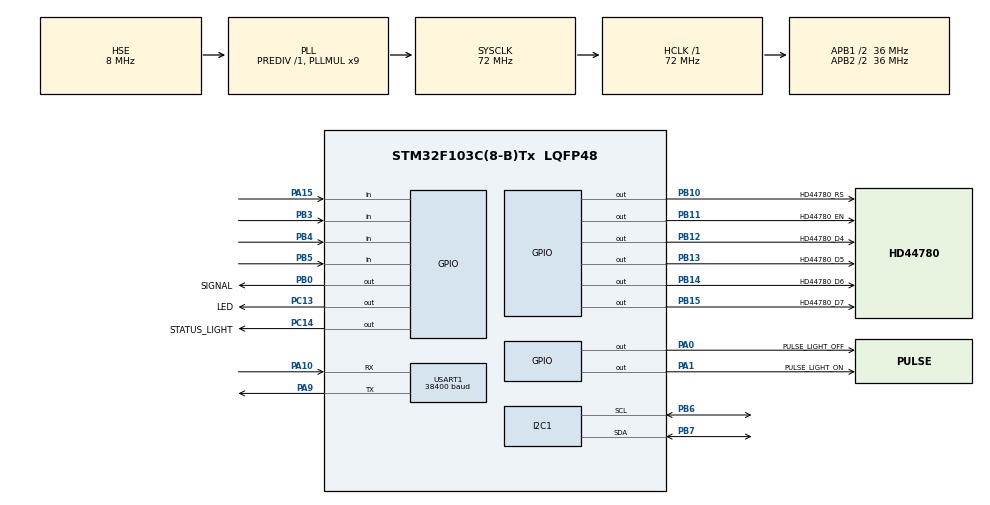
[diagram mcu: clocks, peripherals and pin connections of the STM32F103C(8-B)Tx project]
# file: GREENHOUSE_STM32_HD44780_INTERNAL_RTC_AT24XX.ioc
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Mcu.Family=STM32F1
Mcu.Name=STM32F103C(8-B)Tx
Mcu.Package=LQFP48
NVIC.I2C1_ER_IRQn=true\:0\:0\:false\:false\:true\:true
NVIC.I2C1_EV_IRQn=true\:0\:0\:false\:false\:true\:true
NVIC.PriorityGroup=NVIC_PRIORITYGROUP_4
NVIC.RTC_Alarm_IRQn=true\:0\:0\:false\:false\:true\:true
NVIC.RTC_IRQn=true\:0\:0\:false\:false\:true\:true
NVIC.TIM1_BRK_IRQn=true\:0\:0\:false\:false\:true\:true
NVIC.TIM1_UP_IRQn=true\:0\:0\:false\:false\:true\:true
NVIC.USART1_IRQn=true\:0\:0\:false\:false\:true\:true
PA0-WKUP.GPIO_Label=PULSE_LIGHT_OFF
PA0-WKUP.Signal=GPIO_Output
PA1.GPIO_Label=PULSE_LIGHT_ON
PA1.Signal=GPIO_Output
PA10.Mode=Asynchronous
PA10.Signal=USART1_RX
PA13.Mode=Serial_Wire
PA13.Signal=SYS_JTMS-SWDIO
PA14.Mode=Serial_Wire
PA14.Signal=SYS_JTCK-SWCLK
PA15.GPIO_PuPd=GPIO_PULLDOWN
PA15.Signal=GPIO_Input
PA9.Mode=Asynchronous
PA9.Signal=USART1_TX
PB0.GPIO_Label=SIGNAL
PB0.Signal=GPIO_Output
PB10.GPIO_Label=HD44780_RS
PB10.Signal=GPIO_Output
PB11.GPIO_Label=HD44780_EN
PB11.Signal=GPIO_Output
PB12.GPIO_Label=HD44780_D4
PB12.Signal=GPIO_Output
PB13.GPIO_Label=HD44780_D5
PB13.Signal=GPIO_Output
PB14.GPIO_Label=HD44780_D6
PB14.Signal=GPIO_Output
PB15.GPIO_Label=HD44780_D7
PB15.Signal=GPIO_Output
PB3.GPIO_PuPd=GPIO_PULLDOWN
PB3.Signal=GPIO_Input
PB4.GPIO_PuPd=GPIO_PULLDOWN
PB4.Signal=GPIO_Input
PB5.GPIO_PuPd=GPIO_PULLDOWN
PB5.Signal=GPIO_Input
PB6.Mode=I2C
PB6.Signal=I2C1_SCL
PB7.Mode=I2C
PB7.Signal=I2C1_SDA
PC13-TAMPER-RTC.GPIO_Label=LED
PC13-TAMPER-RTC.Signal=GPIO_Output
PC14-OSC32_IN.GPIO_Label=STATUS_LIGHT
PC14-OSC32_IN.Signal=GPIO_Output
PD0-OSC_IN.Mode=HSE-External-Oscillator
PD0-OSC_IN.Signal=RCC_OSC_IN
PD1-OSC_OUT.Mode=HSE-External-Oscillator
PD1-OSC_OUT.Signal=RCC_OSC_OUT
ProjectManager.HeapSize=0x200
ProjectManager.StackSize=0x400
ProjectManager.TargetToolchain=MDK-ARM V5
RCC.AHBFreq_Value=72000000
RCC.APB1CLKDivider=RCC_HCLK_DIV2
RCC.APB1Freq_Value=36000000
RCC.APB1TimFreq_Value=72000000
RCC.APB2CLKDivider=RCC_HCLK_DIV2
RCC.APB2Freq_Value=36000000
RCC.APB2TimFreq_Value=72000000
RCC.HCLKFreq_Value=72000000
RCC.PLLMUL=RCC_PLL_MUL9
RCC.PLLSourceVirtual=RCC_PLLSOURCE_HSE
RCC.RTCClockSelection=RCC_RTCCLKSOURCE_HSE_DIV128
RCC.SYSCLKFreq_VALUE=72000000
RCC.SYSCLKSource=RCC_SYSCLKSOURCE_PLLCLK
RCC.USBFreq_Value=72000000
TIM1.Period=7200
TIM1.Prescaler=10
USART1.BaudRate=38400
USART1.VirtualMode=VM_ASYNC
VP_RTC_No_RTC_Output.Mode=RTC_OUT_NO
VP_RTC_VS_RTC_Activate.Mode=RTC_Enabled
VP_TIM1_VS_ClockSourceINT.Mode=Internal
board=GREENHOUSE_STM32_HD44780_INTERNAL_RTC_AT24XX

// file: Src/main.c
/**
  ******************************************************************************
  * File Name          : main.c
  * Description        : Main program body
  ******************************************************************************
  ** This notice applies to any and all portions of this file
  * that are not between comment pairs USER CODE BEGIN and
  * USER CODE END. Other portions of this file, whether
  * inserted by the user or by software development tools
  * are owned by their respective copyright owners.
  *
  * COPYRIGHT(c) 2018 STMicroelectronics
  *
  * Redistribution and use in source and binary forms, with or without modification,
  * are permitted provided that the following conditions are met:
  *   1. Redistributions of source code must retain the above copyright notice,
  *      this list of conditions and the following disclaimer.
  *   2. Redistributions in binary form must reproduce the above copyright notice,
  *      this list of conditions and the following disclaimer in the documentation
  *      and/or other materials provided with the distribution.
  *   3. Neither the name of STMicroelectronics nor the names of its contributors
  *      may be used to endorse or promote products derived from this software
  *      without specific prior written permission.
  *
  * THIS SOFTWARE IS PROVIDED BY THE COPYRIGHT HOLDERS AND CONTRIBUTORS "AS IS"
  * AND ANY EXPRESS OR IMPLIED WARRANTIES, INCLUDING, BUT NOT LIMITED TO, THE
  * IMPLIED WARRANTIES OF MERCHANTABILITY AND FITNESS FOR A PARTICULAR PURPOSE ARE
  * DISCLAIMED. IN NO EVENT SHALL THE COPYRIGHT HOLDER OR CONTRIBUTORS BE LIABLE
  * FOR ANY DIRECT, INDIRECT, INCIDENTAL, SPECIAL, EXEMPLARY, OR CONSEQUENTIAL
  * DAMAGES (INCLUDING, BUT NOT LIMITED TO, PROCUREMENT OF SUBSTITUTE GOODS OR
  * SERVICES; LOSS OF USE, DATA, OR PROFITS; OR BUSINESS INTERRUPTION) HOWEVER
  * CAUSED AND ON ANY THEORY OF LIABILITY, WHETHER IN CONTRACT, STRICT LIABILITY,
  * OR TORT (INCLUDING NEGLIGENCE OR OTHERWISE) ARISING IN ANY WAY OUT OF THE USE
  * OF THIS SOFTWARE, EVEN IF ADVISED OF THE POSSIBILITY OF SUCH DAMAGE.
  *
  ******************************************************************************
  */

#include "main.h"
#include "stm32f1xx_hal.h"

/* USER CODE BEGIN Includes */
#include "string.h"
#include <stdint.h>
#include <stdbool.h>
#include <stdio.h>
#include <math.h>

#include "hd44780.h"
#include "at24xx.h"

/* USER CODE END Includes */

I2C_HandleTypeDef hi2c1;

RTC_HandleTypeDef hrtc;

TIM_HandleTypeDef htim1;

UART_HandleTypeDef huart1;

/* USER CODE BEGIN PV */
/* Private variables ---------------------------------------------------------*/
RTC_TimeTypeDef clkTime;
RTC_DateTypeDef clkDate;
char bufstr[10], str[25];
uint8_t set = 0, sec = 0, min = 0, hour = 0, a0min = 0, a0hour = 0, a1min = 0, a1hour = 0, a2min = 0, a2hour = 0;
uint64_t millis = 0, modeSwitch = 0, updateUART = 0;
bool lcd_out = 0, big = 0, triggerClear = 1, alarm = 0, powerLight = 0;

/* USER CODE END PV */

void SystemClock_Config(void);
static void MX_GPIO_Init(void);
static void MX_I2C1_Init(void);
static void MX_USART1_UART_Init(void);
static void MX_TIM1_Init(void);
static void MX_RTC_Init(void);

/* USER CODE BEGIN PFP */
/* Private function prototypes -----------------------------------------------*/
/* USER CODE END PFP */

/* USER CODE BEGIN 0 */

uint8_t decToBcd(uint8_t val)
{
	return ((val / 10 * 16) + (val % 10));
}

uint8_t bcdToDec(uint8_t val)
{
	return ((val / 16 * 10) + (val % 16));
}

uint8_t data[] = "UART OK\n";
uint8_t rx_index = 0;
uint8_t rx_data;
uint8_t rx_buffer[256];

void HAL_UART_RxCpltCallback(UART_HandleTypeDef *huart)
{
	uint8_t i;
	if (huart->Instance == USART1)
	{
		if (rx_index == 0)
		{
			for (i = 0; i < 255; i++)
			{
				rx_buffer[i] = 0;
			}
		}
		rx_buffer[rx_index++] = rx_data;

		HAL_UART_Receive_IT(&huart1, &rx_data, 1);
	}
}

void relayLight(void)
{
	if (hour == a1hour && min == a1min) powerLight = 1;
	if (hour == a2hour && min == a2min) powerLight = 0;

	if (powerLight)
	{
		HAL_GPIO_WritePin(GPIOC, GPIO_PIN_14, GPIO_PIN_SET);
		HAL_GPIO_WritePin(GPIOA, GPIO_PIN_1, GPIO_PIN_RESET);
		HAL_GPIO_WritePin(GPIOA, GPIO_PIN_0, GPIO_PIN_SET);
		HAL_Delay(100);
		HAL_GPIO_WritePin(GPIOA, GPIO_PIN_0, GPIO_PIN_RESET);
	}
	else
	{
		HAL_GPIO_WritePin(GPIOC, GPIO_PIN_14, GPIO_PIN_RESET);
		HAL_GPIO_WritePin(GPIOA, GPIO_PIN_0, GPIO_PIN_RESET);
		HAL_GPIO_WritePin(GPIOA, GPIO_PIN_1, GPIO_PIN_SET);
		HAL_Delay(100);
		HAL_GPIO_WritePin(GPIOA, GPIO_PIN_1, GPIO_PIN_RESET);
	}
}

/* USER CODE END 0 */

int main(void)
{

  /* MCU Configuration----------------------------------------------------------*/

  /* Reset of all peripherals, Initializes the Flash interface and the Systick. */
  HAL_Init();

  /* Configure the system clock */
  SystemClock_Config();

  /* Initialize all configured peripherals */
  MX_GPIO_Init();
  MX_I2C1_Init();
  MX_USART1_UART_Init();
  MX_TIM1_Init();
  MX_RTC_Init();

  /* USER CODE BEGIN 2 */

	HAL_RTC_Init(&hrtc);
	HAL_RTCEx_SetSecond_IT(&hrtc);
	HAL_TIM_Base_Start_IT(&htim1);
	HAL_UART_Receive_IT(&huart1, &rx_data, 1);

	uint8_t uartTransmit[] = "UART OK\r\n";
	HAL_UART_Transmit(&huart1, uartTransmit, sizeof(uartTransmit), 100);

	HD44780_Init();
	HD44780_Clear();
	HD44780_SetPos(0, 0);
	HD44780_String("*** STRING 0 ***");
	HD44780_SetPos(1, 0);
	HD44780_String("*** STRING 1 ***");
	HAL_Delay(500);
	HD44780_Clear();

	while (AT24XX_IsConnected() == false)
	{
		HAL_Delay(100);
	}

  /* USER CODE END 2 */

  /* Infinite loop */
  /* USER CODE BEGIN WHILE */
	while (1)
	{
		if (rx_index != 0)
		{
			HD44780_Clear();
			HD44780_SetPos(0, 0);
			HD44780_String((char*)rx_buffer);
			rx_index = 0;
			HAL_Delay(1000);
		}

		if (lcd_out)
		{
			lcd_out = false;

			HAL_RTC_GetTime(&hrtc, &clkTime, RTC_FORMAT_BCD);
			sec = bcdToDec(clkTime.Seconds);
			min = bcdToDec(clkTime.Minutes);
			hour = bcdToDec(clkTime.Hours);

			if (!set && !big && millis > modeSwitch + 5000)
			{
			modeSwitch = millis;
			triggerClear = 1;
			big = 1;
			}
			else if (!set && big && millis > modeSwitch + 5000)
			{
			modeSwitch = millis;
			big = 0;
			}
			else if (set && millis > modeSwitch + 10000)
			{
				set = 0;
			}

			if (big)
			{
				drawBigDigits(hour / 10, 0);
				drawBigDigits(hour % 10, 4);
				drawBigDigits(min / 10, 9);
				drawBigDigits(min % 10, 13);

				if (sec % 2 == 0)
				{
					HD44780_SetPos(0, 7);
					HD44780_String("+ ");
					HD44780_SetPos(1, 7);
					HD44780_String(" +");
					HD44780_SetPos(1, 3);
					HD44780_String("+");
					HD44780_SetPos(0, 12);
					HD44780_String("+");
					HD44780_SetPos(0, 3);
					HD44780_String(" ");
					HD44780_SetPos(1, 12);
					HD44780_String(" ");
				}
				else
				{
					HD44780_SetPos(0, 7);
					HD44780_String(" +");
					HD44780_SetPos(1, 7);
					HD44780_String("+ ");
					HD44780_SetPos(0, 3);
					HD44780_String("+");
					HD44780_SetPos(1, 12);
					HD44780_String("+");
					HD44780_SetPos(1, 3);
					HD44780_String(" ");
					HD44780_SetPos(0, 12);
					HD44780_String(" ");
				}
			}
			else
			{
				if (triggerClear)
				{
					HD44780_Clear();
					triggerClear = 0;
				}

				sprintf(str, "%.2x:", clkTime.Hours);
				sprintf(bufstr, "%.2x:", clkTime.Minutes);
				strcat(str, bufstr);
				sprintf(bufstr, "%.2x", clkTime.Seconds);
				strcat(str, bufstr);
				HD44780_SetPos(0, 0);
				HD44780_String(str);
				str[0] = 0;

				a1hour = AT24XX_Read(10);
				HD44780_SetPos(0, 11);
				HD44780_SendChar((char)((a1hour / 10) % 10) + 0x30);
				HD44780_SendChar((char)((a1hour) % 10) + 0x30);
				HD44780_SendChar(':');
				a1min = AT24XX_Read(11);
				HD44780_SendChar((char)((a1min / 10) % 10) + 0x30);
				HD44780_SendChar((char)((a1min) % 10) + 0x30);
				a2hour = AT24XX_Read(20);
				HD44780_SetPos(1, 11);
				HD44780_SendChar((char)((a2hour / 10) % 10) + 0x30);
				HD44780_SendChar((char)((a2hour) % 10) + 0x30);
				HD44780_SendChar(':');
				a2min = AT24XX_Read(21);
				HD44780_SendChar((char)((a2min / 10) % 10) + 0x30);
				HD44780_SendChar((char)((a2min) % 10) + 0x30);

				a0hour = AT24XX_Read(30);
				HD44780_SetPos(1, 0);
				HD44780_SendChar((char)((a0hour / 10) % 10) + 0x30);
				HD44780_SendChar((char)((a0hour) % 10) + 0x30);
				HD44780_SendChar(':');
				a0min = AT24XX_Read(31);
				HD44780_SendChar((char)((a0min / 10) % 10) + 0x30);
				HD44780_SendChar((char)((a0min) % 10) + 0x30);

				alarm = AT24XX_Read(9);

				if (alarm)
				{
					HD44780_SetPos(1, 7); HD44780_String("!");
				}

				if (set && sec % 2 == 0)
				{
					switch (set)
					{
					case 1: HD44780_SetPos(0, 0); HD44780_String("  "); break;
					case 2: HD44780_SetPos(0, 3); HD44780_String("  "); break;
					case 3: HD44780_SetPos(0, 11); HD44780_String("  "); break;
					case 4: HD44780_SetPos(0, 14); HD44780_String("  "); break;
					case 5: HD44780_SetPos(1, 11); HD44780_String("  "); break;
					case 6: HD44780_SetPos(1, 14); HD44780_String("  "); break;
					case 7: HD44780_SetPos(1, 0); HD44780_String("  "); break;
					case 8: HD44780_SetPos(1, 3); HD44780_String("  "); break;
					case 9: HD44780_SetPos(1, 7); HD44780_String(" "); break;
					}
				}

				if (powerLight)
				{
					HD44780_SetPos(0, 10);
					HD44780_SendChar('>');
					HD44780_SetPos(1, 10);
					HD44780_SendChar(' ');
				}
				else
				{
					HD44780_SetPos(0, 10);
					HD44780_SendChar(' ');
					HD44780_SetPos(1, 10);
					HD44780_SendChar('>');
				}
			}

			if (sec % 2 != 0 && hour == a0hour && min == a0min)
			{
				HAL_GPIO_WritePin(GPIOB, GPIO_PIN_0, GPIO_PIN_SET);
			}
			else
			{
				HAL_GPIO_WritePin(GPIOB, GPIO_PIN_0, GPIO_PIN_RESET);
			}

			if (sec) relayLight();
		}

		if (HAL_GPIO_ReadPin(GPIOA, GPIO_PIN_15) == GPIO_PIN_SET)
		{
			if (powerLight) powerLight = 0; else powerLight = 1;
			relayLight(); HAL_Delay(500);
		}

		if (HAL_GPIO_ReadPin(GPIOB, GPIO_PIN_3) == GPIO_PIN_SET)
		{
			if (set < 9)
			{
			set++;
			}
			else
			{
			set = 0;
			}
			HAL_Delay(500);
			modeSwitch = millis;
			big = 0;
		}

		if (HAL_GPIO_ReadPin(GPIOB, GPIO_PIN_4) == GPIO_PIN_SET)
		{
			if (set)
			{
				switch (set)
				{
				case 1: clkTime.Hours = decToBcd(hour--); HAL_RTC_SetTime(&hrtc, &clkTime, RTC_FORMAT_BCD); break;
				case 2: clkTime.Minutes = decToBcd(min--); clkTime.Seconds = 0x00; HAL_RTC_SetTime(&hrtc, &clkTime, RTC_FORMAT_BCD); break;
				case 3: if (a1hour > 0) { a1hour--; } else { a1hour = 23; } break;
				case 4: if (a1min > 0) { a1min--; } else { a1min = 59; } break;
				case 5: if (a2hour > 0) { a2hour--; } else { a2hour = 23; } break;
				case 6: if (a2min > 0) { a2min--; } else { a2min = 59; } break;
				case 7: if (a0hour > 0) { a0hour--; } else { a0hour = 23; } AT24XX_Write(30, a0hour); break;
				case 8: if (a0min > 0) { a0min--; } else { a0min = 59; } AT24XX_Write(31, a0min); break;
				case 9: if (alarm) alarm = 0; else alarm = 1; AT24XX_Write(9, alarm); break;
				}
				HAL_Delay(500);
			}
			modeSwitch = millis;
			big = 0;
		}

		if (HAL_GPIO_ReadPin(GPIOB, GPIO_PIN_5) == GPIO_PIN_SET)
		{
			if (set)
			{
				switch (set)
				{
				case 1: clkTime.Hours = decToBcd(hour++); HAL_RTC_SetTime(&hrtc, &clkTime, RTC_FORMAT_BCD); break;
				case 2: clkTime.Minutes = decToBcd(min++); clkTime.Seconds = 0x00; HAL_RTC_SetTime(&hrtc, &clkTime, RTC_FORMAT_BCD); break;
				case 3: if (a1hour < 23) { a1hour++; } else { a1hour = 0; } break;
				case 4: if (a1min < 59) { a1min++; } else { a1min = 0; } break;
				case 5: if (a2hour < 23) { a2hour++; } else { a2hour = 0; } break;
				case 6: if (a2min < 59) { a2min++; } else { a2min = 0; } break;
				case 7: if (a0hour < 23) { a0hour++; } else { a0hour = 0; } AT24XX_Write(30, a0hour); break;
				case 8: if (a0min < 59) { a0min++; } else { a0min = 0; } AT24XX_Write(31, a0min); break;
				case 9: if (alarm) alarm = 0; else alarm = 1; AT24XX_Write(9, alarm); break;
				}
				HAL_Delay(500);
			}
			modeSwitch = millis;
			big = 0;
		}

	}
  /* USER CODE END WHILE */

}

/** System Clock Configuration
*/
void SystemClock_Config(void)
{

  RCC_OscInitTypeDef RCC_OscInitStruct;
  RCC_ClkInitTypeDef RCC_ClkInitStruct;
  RCC_PeriphCLKInitTypeDef PeriphClkInit;

    /**Initializes the CPU, AHB and APB busses clocks
    */
  RCC_OscInitStruct.OscillatorType = RCC_OSCILLATORTYPE_HSE;
  RCC_OscInitStruct.HSEState = RCC_HSE_ON;
  RCC_OscInitStruct.HSEPredivValue = RCC_HSE_PREDIV_DIV1;
  RCC_OscInitStruct.HSIState = RCC_HSI_ON;
  RCC_OscInitStruct.PLL.PLLState = RCC_PLL_ON;
  RCC_OscInitStruct.PLL.PLLSource = RCC_PLLSOURCE_HSE;
  RCC_OscInitStruct.PLL.PLLMUL = RCC_PLL_MUL9;
  if (HAL_RCC_OscConfig(&RCC_OscInitStruct) != HAL_OK)
  {
    _Error_Handler(__FILE__, __LINE__);
  }

    /**Initializes the CPU, AHB and APB busses clocks
    */
  RCC_ClkInitStruct.ClockType = RCC_CLOCKTYPE_HCLK|RCC_CLOCKTYPE_SYSCLK
                              |RCC_CLOCKTYPE_PCLK1|RCC_CLOCKTYPE_PCLK2;
  RCC_ClkInitStruct.SYSCLKSource = RCC_SYSCLKSOURCE_PLLCLK;
  RCC_ClkInitStruct.AHBCLKDivider = RCC_SYSCLK_DIV1;
  RCC_ClkInitStruct.APB1CLKDivider = RCC_HCLK_DIV2;
  RCC_ClkInitStruct.APB2CLKDivider = RCC_HCLK_DIV2;

  if (HAL_RCC_ClockConfig(&RCC_ClkInitStruct, FLASH_LATENCY_2) != HAL_OK)
  {
    _Error_Handler(__FILE__, __LINE__);
  }

  PeriphClkInit.PeriphClockSelection = RCC_PERIPHCLK_RTC;
  PeriphClkInit.RTCClockSelection = RCC_RTCCLKSOURCE_HSE_DIV128;
  if (HAL_RCCEx_PeriphCLKConfig(&PeriphClkInit) != HAL_OK)
  {
    _Error_Handler(__FILE__, __LINE__);
  }

    /**Configure the Systick interrupt time
    */
  HAL_SYSTICK_Config(HAL_RCC_GetHCLKFreq()/1000);

    /**Configure the Systick
    */
  HAL_SYSTICK_CLKSourceConfig(SYSTICK_CLKSOURCE_HCLK);

  /* SysTick_IRQn interrupt configuration */
  HAL_NVIC_SetPriority(SysTick_IRQn, 0, 0);
}

/* I2C1 init function */
static void MX_I2C1_Init(void)
{

  hi2c1.Instance = I2C1;
  hi2c1.Init.ClockSpeed = 100000;
  hi2c1.Init.DutyCycle = I2C_DUTYCYCLE_2;
  hi2c1.Init.OwnAddress1 = 0;
  hi2c1.Init.AddressingMode = I2C_ADDRESSINGMODE_7BIT;
  hi2c1.Init.DualAddressMode = I2C_DUALADDRESS_DISABLE;
  hi2c1.Init.OwnAddress2 = 0;
  hi2c1.Init.GeneralCallMode = I2C_GENERALCALL_DISABLE;
  hi2c1.Init.NoStretchMode = I2C_NOSTRETCH_DISABLE;
  if (HAL_I2C_Init(&hi2c1) != HAL_OK)
  {
    _Error_Handler(__FILE__, __LINE__);
  }

}

/* RTC init function */
static void MX_RTC_Init(void)
{

  RTC_TimeTypeDef sTime;
  RTC_DateTypeDef DateToUpdate;

    /**Initialize RTC Only
    */
  hrtc.Instance = RTC;
  hrtc.Init.AsynchPrediv = RTC_AUTO_1_SECOND;
  hrtc.Init.OutPut = RTC_OUTPUTSOURCE_NONE;
  if (HAL_RTC_Init(&hrtc) != HAL_OK)
  {
    _Error_Handler(__FILE__, __LINE__);
  }

    /**Initialize RTC and set the Time and Date
    */
  if(HAL_RTCEx_BKUPRead(&hrtc, RTC_BKP_DR1) != 0x32F2){
  sTime.Hours = 0x1;
  sTime.Minutes = 0x0;
  sTime.Seconds = 0x0;

  if (HAL_RTC_SetTime(&hrtc, &sTime, RTC_FORMAT_BCD) != HAL_OK)
  {
    _Error_Handler(__FILE__, __LINE__);
  }

  DateToUpdate.WeekDay = RTC_WEEKDAY_MONDAY;
  DateToUpdate.Month = RTC_MONTH_JANUARY;
  DateToUpdate.Date = 0x1;
  DateToUpdate.Year = 0x0;

  if (HAL_RTC_SetDate(&hrtc, &DateToUpdate, RTC_FORMAT_BCD) != HAL_OK)
  {
    _Error_Handler(__FILE__, __LINE__);
  }

    HAL_RTCEx_BKUPWrite(&hrtc,RTC_BKP_DR1,0x32F2);
  }

}

/* TIM1 init function */
static void MX_TIM1_Init(void)
{

  TIM_ClockConfigTypeDef sClockSourceConfig;
  TIM_MasterConfigTypeDef sMasterConfig;

  htim1.Instance = TIM1;
  htim1.Init.Prescaler = 10;
  htim1.Init.CounterMode = TIM_COUNTERMODE_UP;
  htim1.Init.Period = 7200;
  htim1.Init.ClockDivision = TIM_CLOCKDIVISION_DIV1;
  htim1.Init.RepetitionCounter = 0;
  htim1.Init.AutoReloadPreload = TIM_AUTORELOAD_PRELOAD_DISABLE;
  if (HAL_TIM_Base_Init(&htim1) != HAL_OK)
  {
    _Error_Handler(__FILE__, __LINE__);
  }

  sClockSourceConfig.ClockSource = TIM_CLOCKSOURCE_INTERNAL;
  if (HAL_TIM_ConfigClockSource(&htim1, &sClockSourceConfig) != HAL_OK)
  {
    _Error_Handler(__FILE__, __LINE__);
  }

  sMasterConfig.MasterOutputTrigger = TIM_TRGO_RESET;
  sMasterConfig.MasterSlaveMode = TIM_MASTERSLAVEMODE_DISABLE;
  if (HAL_TIMEx_MasterConfigSynchronization(&htim1, &sMasterConfig) != HAL_OK)
  {
    _Error_Handler(__FILE__, __LINE__);
  }

}

/* USART1 init function */
static void MX_USART1_UART_Init(void)
{

  huart1.Instance = USART1;
  huart1.Init.BaudRate = 38400;
  huart1.Init.WordLength = UART_WORDLENGTH_8B;
  huart1.Init.StopBits = UART_STOPBITS_1;
  huart1.Init.Parity = UART_PARITY_NONE;
  huart1.Init.Mode = UART_MODE_TX_RX;
  huart1.Init.HwFlowCtl = UART_HWCONTROL_NONE;
  huart1.Init.OverSampling = UART_OVERSAMPLING_16;
  if (HAL_UART_Init(&huart1) != HAL_OK)
  {
    _Error_Handler(__FILE__, __LINE__);
  }

}

/** Configure pins as
        * Analog
        * Input
        * Output
        * EVENT_OUT
        * EXTI
*/
static void MX_GPIO_Init(void)
{

  GPIO_InitTypeDef GPIO_InitStruct;

  /* GPIO Ports Clock Enable */
  __HAL_RCC_GPIOC_CLK_ENABLE();
  __HAL_RCC_GPIOD_CLK_ENABLE();
  __HAL_RCC_GPIOA_CLK_ENABLE();
  __HAL_RCC_GPIOB_CLK_ENABLE();

  /*Configure GPIO pin Output Level */
  HAL_GPIO_WritePin(GPIOC, LED_Pin|STATUS_LIGHT_Pin, GPIO_PIN_RESET);

  /*Configure GPIO pin Output Level */
  HAL_GPIO_WritePin(GPIOA, PULSE_LIGHT_OFF_Pin|PULSE_LIGHT_ON_Pin, GPIO_PIN_RESET);

  /*Configure GPIO pin Output Level */
  HAL_GPIO_WritePin(GPIOB, SIGNAL_Pin|HD44780_RS_Pin|HD44780_EN_Pin|HD44780_D4_Pin
                          |HD44780_D5_Pin|HD44780_D6_Pin|HD44780_D7_Pin, GPIO_PIN_RESET);

  /*Configure GPIO pins : LED_Pin STATUS_LIGHT_Pin */
  GPIO_InitStruct.Pin = LED_Pin|STATUS_LIGHT_Pin;
  GPIO_InitStruct.Mode = GPIO_MODE_OUTPUT_PP;
  GPIO_InitStruct.Speed = GPIO_SPEED_FREQ_LOW;
  HAL_GPIO_Init(GPIOC, &GPIO_InitStruct);

  /*Configure GPIO pins : PULSE_LIGHT_OFF_Pin PULSE_LIGHT_ON_Pin */
  GPIO_InitStruct.Pin = PULSE_LIGHT_OFF_Pin|PULSE_LIGHT_ON_Pin;
  GPIO_InitStruct.Mode = GPIO_MODE_OUTPUT_PP;
  GPIO_InitStruct.Speed = GPIO_SPEED_FREQ_LOW;
  HAL_GPIO_Init(GPIOA, &GPIO_InitStruct);

  /*Configure GPIO pins : SIGNAL_Pin HD44780_RS_Pin HD44780_EN_Pin HD44780_D4_Pin
                           HD44780_D5_Pin HD44780_D6_Pin HD44780_D7_Pin */
  GPIO_InitStruct.Pin = SIGNAL_Pin|HD44780_RS_Pin|HD44780_EN_Pin|HD44780_D4_Pin
                          |HD44780_D5_Pin|HD44780_D6_Pin|HD44780_D7_Pin;
  GPIO_InitStruct.Mode = GPIO_MODE_OUTPUT_PP;
  GPIO_InitStruct.Speed = GPIO_SPEED_FREQ_LOW;
  HAL_GPIO_Init(GPIOB, &GPIO_InitStruct);

  /*Configure GPIO pin : PA15 */
  GPIO_InitStruct.Pin = GPIO_PIN_15;
  GPIO_InitStruct.Mode = GPIO_MODE_INPUT;
  GPIO_InitStruct.Pull = GPIO_PULLDOWN;
  HAL_GPIO_Init(GPIOA, &GPIO_InitStruct);

  /*Configure GPIO pins : PB3 PB4 PB5 */
  GPIO_InitStruct.Pin = GPIO_PIN_3|GPIO_PIN_4|GPIO_PIN_5;
  GPIO_InitStruct.Mode = GPIO_MODE_INPUT;
  GPIO_InitStruct.Pull = GPIO_PULLDOWN;
  HAL_GPIO_Init(GPIOB, &GPIO_InitStruct);

}

void _Error_Handler(char * file, int line)
{
	while (1)
	{
	}
}

/************************ (C) COPYRIGHT STMicroelectronics *****END OF FILE****/
